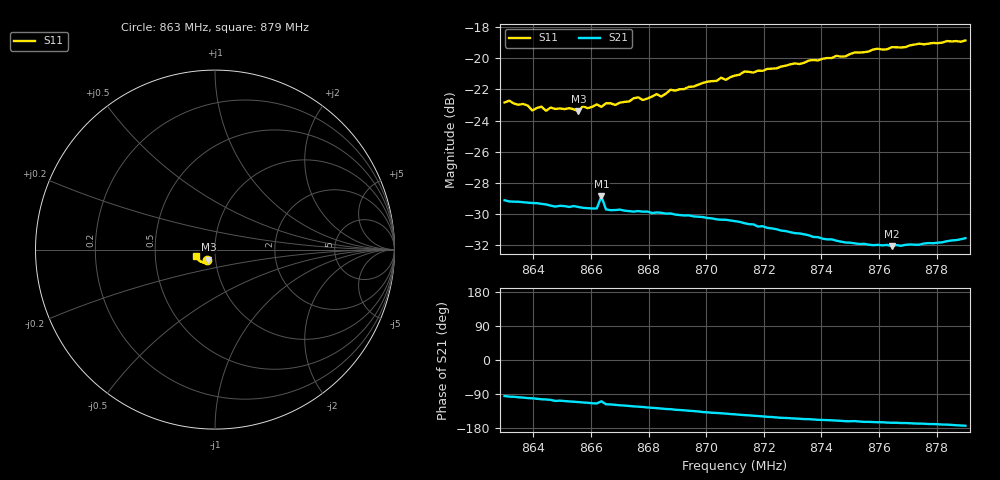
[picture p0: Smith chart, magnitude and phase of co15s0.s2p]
# HZ S RI R 50
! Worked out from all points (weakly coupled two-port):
!   101 points, 863 MHz to 879 MHz, reference 50 ohm
!   highest |S21| = -28.86 dB at 866.36 MHz (marker M1); lowest = -32.0 dB at 876.44 MHz (marker M2)
!   lowest |S11| = -23.4 dB at 865.56 MHz (marker M3), VSWR 1.15, Z = 46.2 - j5.27 ohm
!   |S11| at or under -10 dB: start of sweep to end of sweep
!   S12 and S22 are empty: the file has one direction only
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8.63e8  -0.0452 -0.0562  -0.00318 -0.0349  0 0  0 0
8.6364e8  -0.0446 -0.0557  -0.0055 -0.0341  0 0  0 0
8.6396e8  -0.0404 -0.0547  -0.00664 -0.0337  0 0  0 0
8.6428e8  -0.0413 -0.0564  -0.00805 -0.0332  0 0  0 0
8.6444e8  -0.0397 -0.055  -0.00832 -0.033  0 0  0 0
8.646e8  -0.0403 -0.0566  -0.00884 -0.0325  0 0  0 0
8.6556e8  -0.0367 -0.0568  -0.012 -0.0311  0 0  0 0
8.6572e8  -0.0377 -0.0592  -0.0125 -0.0307  0 0  0 0
8.6588e8  -0.0373 -0.0582  -0.0128 -0.0305  0 0  0 0
8.662e8  -0.0384 -0.0599  -0.0138 -0.03  0 0  0 0
8.6636e8  -0.0278 -0.0641  -0.0117 -0.0341  0 0  0 0
8.6652e8  -0.0368 -0.0615  -0.0148 -0.0292  0 0  0 0
8.6684e8  -0.0372 -0.0603  -0.0155 -0.0287  0 0  0 0
8.6764e8  -0.0389 -0.064  -0.0177 -0.0271  0 0  0 0
8.678e8  -0.0378 -0.063  -0.018 -0.0267  0 0  0 0
8.6828e8  -0.0392 -0.066  -0.0193 -0.0256  0 0  0 0
8.6844e8  -0.0385 -0.0648  -0.0197 -0.0252  0 0  0 0
8.6876e8  -0.0403 -0.0682  -0.0204 -0.0244  0 0  0 0
8.71e8  -0.0513 -0.0715  -0.0241 -0.0179  0 0  0 0
8.7372e8  -0.0685 -0.071  -0.0246 -0.0105  0 0  0 0
8.7644e8  -0.0909 -0.0592  -0.0242 -0.0062  0 0  0 0
8.79e8  -0.1077 -0.0372  -0.0263 -0.00302  0 0  0 0
